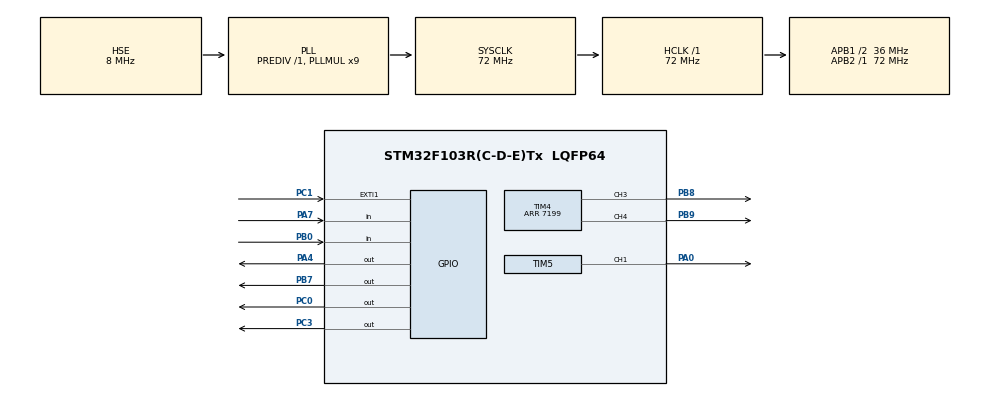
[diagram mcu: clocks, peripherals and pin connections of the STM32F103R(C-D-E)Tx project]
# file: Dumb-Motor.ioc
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Mcu.Family=STM32F1
Mcu.Name=STM32F103R(C-D-E)Tx
Mcu.Package=LQFP64
NVIC.EXTI1_IRQn=true\:0\:0\:false\:false\:true\:true\:true\:true
NVIC.PriorityGroup=NVIC_PRIORITYGROUP_4
NVIC.TIM2_IRQn=true\:0\:0\:false\:false\:true\:true\:true\:true
PA0-WKUP.Signal=S_TIM5_CH1
PA4.Signal=GPIO_Output
PA7.GPIO_PuPd=GPIO_PULLUP
PA7.Signal=GPIO_Input
PB0.GPIO_PuPd=GPIO_PULLUP
PB0.Signal=GPIO_Input
PB7.Signal=GPIO_Output
PB8.Signal=S_TIM4_CH3
PB9.Signal=S_TIM4_CH4
PC0.Signal=GPIO_Output
PC1.GPIO_PuPd=GPIO_PULLDOWN
PC1.Signal=GPXTI1
PC3.Signal=GPIO_Output
PD0-OSC_IN.Mode=HSE-External-Oscillator
PD0-OSC_IN.Signal=RCC_OSC_IN
PD1-OSC_OUT.Mode=HSE-External-Oscillator
PD1-OSC_OUT.Signal=RCC_OSC_OUT
ProjectManager.HeapSize=0x200
ProjectManager.StackSize=0x400
ProjectManager.TargetToolchain=STM32CubeIDE
RCC.AHBFreq_Value=72000000
RCC.APB1CLKDivider=RCC_HCLK_DIV2
RCC.APB1Freq_Value=36000000
RCC.APB1TimFreq_Value=72000000
RCC.APB2Freq_Value=72000000
RCC.APB2TimFreq_Value=72000000
RCC.HCLKFreq_Value=72000000
RCC.PLLMUL=RCC_PLL_MUL9
RCC.PLLSourceVirtual=RCC_PLLSOURCE_HSE
RCC.SYSCLKFreq_VALUE=72000000
RCC.SYSCLKSource=RCC_SYSCLKSOURCE_PLLCLK
RCC.USBFreq_Value=72000000
SH.S_TIM4_CH3.0=TIM4_CH3,PWM Generation3 CH3
SH.S_TIM4_CH4.0=TIM4_CH4,PWM Generation4 CH4
SH.S_TIM5_CH1.0=TIM5_CH1,PWM Generation1 CH1
TIM2.Period=4999
TIM2.Prescaler=7199
TIM4.Channel-PWM\ Generation3\ CH3=TIM_CHANNEL_3
TIM4.Channel-PWM\ Generation4\ CH4=TIM_CHANNEL_4
TIM4.Period=7199
TIM5.Channel-PWM\ Generation1\ CH1=TIM_CHANNEL_1
TIM5.Period=9999
TIM5.Prescaler=143
VP_SYS_VS_ND.Mode=No_Debug
VP_TIM2_VS_ClockSourceINT.Mode=Internal
VP_TIM4_VS_ClockSourceINT.Mode=Internal
VP_TIM5_VS_ClockSourceINT.Mode=Internal
board=custom

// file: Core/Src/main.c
/* USER CODE BEGIN Header */
/**
  ******************************************************************************
  * @file           : main.c
  * @brief          : Main program body
  ******************************************************************************
  * @attention
  *
  * Copyright (c) 2025 STMicroelectronics.
  * All rights reserved.
  *
  * This software is licensed under terms that can be found in the LICENSE file
  * in the root directory of this software component.
  * If no LICENSE file comes with this software, it is provided AS-IS.
  *
  ******************************************************************************
  */
/* USER CODE END Header */
#include "main.h"

/* USER CODE BEGIN Includes */
#include "motor.h"
#include "servo.h"
#include "ultrasonic.h"
#include "beep.h"
#include "queue.h"
#include "avoid.h"
#include "fsm.h"
/* USER CODE END Includes */

 TIM_HandleTypeDef htim2;
TIM_HandleTypeDef htim4;
TIM_HandleTypeDef htim5;

void SystemClock_Config(void);
static void MX_GPIO_Init(void);
static void MX_TIM2_Init(void);
static void MX_TIM4_Init(void);
static void MX_TIM5_Init(void);

int main(void)
{

  /* MCU Configuration--------------------------------------------------------*/

  /* Reset of all peripherals, Initializes the Flash interface and the Systick. */
  HAL_Init();

  /* Configure the system clock */
  SystemClock_Config();

  /* Initialize all configured peripherals */
  MX_GPIO_Init();
  MX_TIM2_Init();
  MX_TIM4_Init();
  MX_TIM5_Init();
  /* USER CODE BEGIN 2 */
  Motor_Init();
  Servo_Init();
  Ultrasonic_Init();
  Beep_Init();
  /* USER CODE END 2 */

  /* Infinite loop */
  while (1)
  {

    /* USER CODE BEGIN 3 */
    static uint32_t t_servo = 0;
    if(HAL_GetTick() - t_servo >= 50){
      t_servo = HAL_GetTick();
      servo_sweep();
    }

  }
  /* USER CODE END 3 */
}

void SystemClock_Config(void)
{
  RCC_OscInitTypeDef RCC_OscInitStruct = {0};
  RCC_ClkInitTypeDef RCC_ClkInitStruct = {0};

  /** Initializes the RCC Oscillators according to the specified parameters
  * in the RCC_OscInitTypeDef structure.
  */
  RCC_OscInitStruct.OscillatorType = RCC_OSCILLATORTYPE_HSE;
  RCC_OscInitStruct.HSEState = RCC_HSE_ON;
  RCC_OscInitStruct.HSEPredivValue = RCC_HSE_PREDIV_DIV1;
  RCC_OscInitStruct.HSIState = RCC_HSI_ON;
  RCC_OscInitStruct.PLL.PLLState = RCC_PLL_ON;
  RCC_OscInitStruct.PLL.PLLSource = RCC_PLLSOURCE_HSE;
  RCC_OscInitStruct.PLL.PLLMUL = RCC_PLL_MUL9;
  if (HAL_RCC_OscConfig(&RCC_OscInitStruct) != HAL_OK)
  {
    Error_Handler();
  }

  /** Initializes the CPU, AHB and APB buses clocks
  */
  RCC_ClkInitStruct.ClockType = RCC_CLOCKTYPE_HCLK|RCC_CLOCKTYPE_SYSCLK
                              |RCC_CLOCKTYPE_PCLK1|RCC_CLOCKTYPE_PCLK2;
  RCC_ClkInitStruct.SYSCLKSource = RCC_SYSCLKSOURCE_PLLCLK;
  RCC_ClkInitStruct.AHBCLKDivider = RCC_SYSCLK_DIV1;
  RCC_ClkInitStruct.APB1CLKDivider = RCC_HCLK_DIV2;
  RCC_ClkInitStruct.APB2CLKDivider = RCC_HCLK_DIV1;

  if (HAL_RCC_ClockConfig(&RCC_ClkInitStruct, FLASH_LATENCY_2) != HAL_OK)
  {
    Error_Handler();
  }
}

static void MX_TIM2_Init(void)
{

  TIM_ClockConfigTypeDef sClockSourceConfig = {0};
  TIM_MasterConfigTypeDef sMasterConfig = {0};

  htim2.Instance = TIM2;
  htim2.Init.Prescaler = 7199;
  htim2.Init.CounterMode = TIM_COUNTERMODE_UP;
  htim2.Init.Period = 4999;
  htim2.Init.ClockDivision = TIM_CLOCKDIVISION_DIV1;
  htim2.Init.AutoReloadPreload = TIM_AUTORELOAD_PRELOAD_DISABLE;
  if (HAL_TIM_Base_Init(&htim2) != HAL_OK)
  {
    Error_Handler();
  }
  sClockSourceConfig.ClockSource = TIM_CLOCKSOURCE_INTERNAL;
  if (HAL_TIM_ConfigClockSource(&htim2, &sClockSourceConfig) != HAL_OK)
  {
    Error_Handler();
  }
  sMasterConfig.MasterOutputTrigger = TIM_TRGO_RESET;
  sMasterConfig.MasterSlaveMode = TIM_MASTERSLAVEMODE_DISABLE;
  if (HAL_TIMEx_MasterConfigSynchronization(&htim2, &sMasterConfig) != HAL_OK)
  {
    Error_Handler();
  }

}

static void MX_TIM4_Init(void)
{

  TIM_ClockConfigTypeDef sClockSourceConfig = {0};
  TIM_MasterConfigTypeDef sMasterConfig = {0};
  TIM_OC_InitTypeDef sConfigOC = {0};

  htim4.Instance = TIM4;
  htim4.Init.Prescaler = 0;
  htim4.Init.CounterMode = TIM_COUNTERMODE_UP;
  htim4.Init.Period = 7199;
  htim4.Init.ClockDivision = TIM_CLOCKDIVISION_DIV1;
  htim4.Init.AutoReloadPreload = TIM_AUTORELOAD_PRELOAD_DISABLE;
  if (HAL_TIM_Base_Init(&htim4) != HAL_OK)
  {
    Error_Handler();
  }
  sClockSourceConfig.ClockSource = TIM_CLOCKSOURCE_INTERNAL;
  if (HAL_TIM_ConfigClockSource(&htim4, &sClockSourceConfig) != HAL_OK)
  {
    Error_Handler();
  }
  if (HAL_TIM_PWM_Init(&htim4) != HAL_OK)
  {
    Error_Handler();
  }
  sMasterConfig.MasterOutputTrigger = TIM_TRGO_RESET;
  sMasterConfig.MasterSlaveMode = TIM_MASTERSLAVEMODE_DISABLE;
  if (HAL_TIMEx_MasterConfigSynchronization(&htim4, &sMasterConfig) != HAL_OK)
  {
    Error_Handler();
  }
  sConfigOC.OCMode = TIM_OCMODE_PWM1;
  sConfigOC.Pulse = 0;
  sConfigOC.OCPolarity = TIM_OCPOLARITY_HIGH;
  sConfigOC.OCFastMode = TIM_OCFAST_DISABLE;
  if (HAL_TIM_PWM_ConfigChannel(&htim4, &sConfigOC, TIM_CHANNEL_3) != HAL_OK)
  {
    Error_Handler();
  }
  if (HAL_TIM_PWM_ConfigChannel(&htim4, &sConfigOC, TIM_CHANNEL_4) != HAL_OK)
  {
    Error_Handler();
  }
  HAL_TIM_MspPostInit(&htim4);

}

static void MX_TIM5_Init(void)
{

  TIM_ClockConfigTypeDef sClockSourceConfig = {0};
  TIM_MasterConfigTypeDef sMasterConfig = {0};
  TIM_OC_InitTypeDef sConfigOC = {0};

  htim5.Instance = TIM5;
  htim5.Init.Prescaler = 143;
  htim5.Init.CounterMode = TIM_COUNTERMODE_UP;
  htim5.Init.Period = 9999;
  htim5.Init.ClockDivision = TIM_CLOCKDIVISION_DIV1;
  htim5.Init.AutoReloadPreload = TIM_AUTORELOAD_PRELOAD_DISABLE;
  if (HAL_TIM_Base_Init(&htim5) != HAL_OK)
  {
    Error_Handler();
  }
  sClockSourceConfig.ClockSource = TIM_CLOCKSOURCE_INTERNAL;
  if (HAL_TIM_ConfigClockSource(&htim5, &sClockSourceConfig) != HAL_OK)
  {
    Error_Handler();
  }
  if (HAL_TIM_PWM_Init(&htim5) != HAL_OK)
  {
    Error_Handler();
  }
  sMasterConfig.MasterOutputTrigger = TIM_TRGO_RESET;
  sMasterConfig.MasterSlaveMode = TIM_MASTERSLAVEMODE_DISABLE;
  if (HAL_TIMEx_MasterConfigSynchronization(&htim5, &sMasterConfig) != HAL_OK)
  {
    Error_Handler();
  }
  sConfigOC.OCMode = TIM_OCMODE_PWM1;
  sConfigOC.Pulse = 0;
  sConfigOC.OCPolarity = TIM_OCPOLARITY_HIGH;
  sConfigOC.OCFastMode = TIM_OCFAST_DISABLE;
  if (HAL_TIM_PWM_ConfigChannel(&htim5, &sConfigOC, TIM_CHANNEL_1) != HAL_OK)
  {
    Error_Handler();
  }
  HAL_TIM_MspPostInit(&htim5);

}

static void MX_GPIO_Init(void)
{
  GPIO_InitTypeDef GPIO_InitStruct = {0};

  /* GPIO Ports Clock Enable */
  __HAL_RCC_GPIOD_CLK_ENABLE();
  __HAL_RCC_GPIOC_CLK_ENABLE();
  __HAL_RCC_GPIOA_CLK_ENABLE();
  __HAL_RCC_GPIOB_CLK_ENABLE();

  /*Configure GPIO pin Output Level */
  HAL_GPIO_WritePin(GPIOC, GPIO_PIN_0|GPIO_PIN_3, GPIO_PIN_RESET);

  /*Configure GPIO pin Output Level */
  HAL_GPIO_WritePin(GPIOA, GPIO_PIN_4, GPIO_PIN_RESET);

  /*Configure GPIO pin Output Level */
  HAL_GPIO_WritePin(GPIOB, GPIO_PIN_7, GPIO_PIN_RESET);

  /*Configure GPIO pins : PC0 PC3 */
  GPIO_InitStruct.Pin = GPIO_PIN_0|GPIO_PIN_3;
  GPIO_InitStruct.Mode = GPIO_MODE_OUTPUT_PP;
  GPIO_InitStruct.Pull = GPIO_NOPULL;
  GPIO_InitStruct.Speed = GPIO_SPEED_FREQ_LOW;
  HAL_GPIO_Init(GPIOC, &GPIO_InitStruct);

  /*Configure GPIO pin : PC1 */
  GPIO_InitStruct.Pin = GPIO_PIN_1;
  GPIO_InitStruct.Mode = GPIO_MODE_IT_RISING;
  GPIO_InitStruct.Pull = GPIO_PULLDOWN;
  HAL_GPIO_Init(GPIOC, &GPIO_InitStruct);

  /*Configure GPIO pin : PA4 */
  GPIO_InitStruct.Pin = GPIO_PIN_4;
  GPIO_InitStruct.Mode = GPIO_MODE_OUTPUT_PP;
  GPIO_InitStruct.Pull = GPIO_NOPULL;
  GPIO_InitStruct.Speed = GPIO_SPEED_FREQ_LOW;
  HAL_GPIO_Init(GPIOA, &GPIO_InitStruct);

  /*Configure GPIO pin : PA7 */
  GPIO_InitStruct.Pin = GPIO_PIN_7;
  GPIO_InitStruct.Mode = GPIO_MODE_INPUT;
  GPIO_InitStruct.Pull = GPIO_PULLUP;
  HAL_GPIO_Init(GPIOA, &GPIO_InitStruct);

  /*Configure GPIO pin : PB0 */
  GPIO_InitStruct.Pin = GPIO_PIN_0;
  GPIO_InitStruct.Mode = GPIO_MODE_INPUT;
  GPIO_InitStruct.Pull = GPIO_PULLUP;
  HAL_GPIO_Init(GPIOB, &GPIO_InitStruct);

  /*Configure GPIO pin : PB7 */
  GPIO_InitStruct.Pin = GPIO_PIN_7;
  GPIO_InitStruct.Mode = GPIO_MODE_OUTPUT_PP;
  GPIO_InitStruct.Pull = GPIO_NOPULL;
  GPIO_InitStruct.Speed = GPIO_SPEED_FREQ_LOW;
  HAL_GPIO_Init(GPIOB, &GPIO_InitStruct);

  /* EXTI interrupt init*/
  HAL_NVIC_SetPriority(EXTI1_IRQn, 0, 0);
  HAL_NVIC_EnableIRQ(EXTI1_IRQn);

}

void Error_Handler(void)
{
  __disable_irq();
  while (1)
  {
  }
}
